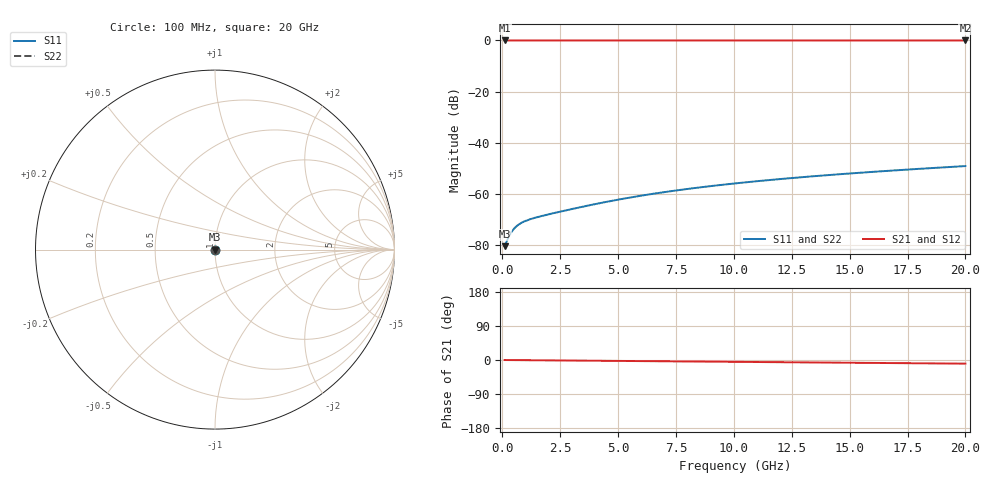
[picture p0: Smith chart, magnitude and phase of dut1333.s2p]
! Touchstone file exported from HFSS 2026.1.0
!  File:  C:/ffzhzh/LocalFiles/Ansys_Project_Files/temp_train_TSV_1333_1783195425_51560.aedt
!  Generated:  04:05:08 AM Jul  5, 2026
!  Design:  TSV
!  Project:  temp_train_TSV_1333_1783195425_51560
! Variables:
!  h_bsmrdl = 2um
!  h_ox = 20um
!  h_rdl = 5um
!  h_sub = 96.8um
!  h_tmrdl = 5um
!  h_tsv = 96.8um
!  h_via = 3um
!  l_bsmrdl = 300um
!  l_sub = 428.18um
!  l_tmrdl = 200um
!  m_sub = 200um
!  pitch = 55.31um
!  r_tsv = 14.09um
!  s_tmrdl = 10um
!  w_bsmrdl = 18um
!  w_sub = 500um
!  w_tmrdl = 12um
!  x_tsv_center1 = 206um
!  x_tsv_center2 = 524um
!  x_tsv_center3 = 736um
!  x_tsv_center4 = 1054um
!  x_tsv_center5 = 1266um
!  x_tsv_center6 = 1584um
# GHz S MA R 50.000000
! Terminal data exported
! Port[1] = TSV1_1_T1
! Port[2] = TSV1_1_T2
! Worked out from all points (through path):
!   200 points, 100 MHz to 20 GHz, reference 50 ohm
!   highest |S21| = 0.00 dB at 100 MHz (marker M1); lowest = 0.0 dB at 20 GHz (marker M2)
!   group delay of S21, straight-line fit = 1.34 ps
!   lowest |S11| = -80.6 dB at 100 MHz (marker M3), VSWR 1.00, Z = 50 + j0.00318 ohm
!   |S11| at or under -10 dB: start of sweep to end of sweep
!   |S22| runs from -80.6 to -49.2 dB; largest |S21 - S12| = 4.6e-15
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0.1  9.372e-05 19.9  0.9999 -0.1  0.9999 -0.1  9.372e-05 19.9
! Gamma 0 0 0 0
! Port Impedance 50 0 50 0
0.2  0.0001197 29.7  0.9999 -0.1  0.9999 -0.1  0.0001197 29.7
0.3  0.0001499 32.1  0.9999 -0.2  0.9999 -0.2  0.0001499 32.1
0.4  0.0001789 30.8  0.9998 -0.2  0.9998 -0.2  0.0001789 30.9
0.5  0.0002049 28.0  0.9998 -0.3  0.9998 -0.3  0.0002049 28.0
0.6  0.0002275 24.6  0.9998 -0.3  0.9998 -0.3  0.0002275 24.6
0.7  0.000247 21.1  0.9998 -0.3  0.9998 -0.3  0.000247 21.1
0.9  0.0002788 14.2  0.9997 -0.4  0.9997 -0.4  0.0002788 14.2
1.2  0.0003153 5.3  0.9997 -0.6  0.9997 -0.6  0.0003154 5.3
1.6  0.0003555 -4.3  0.9996 -0.8  0.9996 -0.8  0.0003556 -4.3
2.4  0.0004339 -18.2  0.9996 -1.2  0.9996 -1.2  0.0004341 -18.2
3.5  0.0005592 -31.1  0.9995 -1.7  0.9995 -1.7  0.0005593 -31.0
4.3  0.0006638 -37.8  0.9995 -2.1  0.9995 -2.1  0.000664 -37.8
5.1  0.0007775 -43.3  0.9994 -2.5  0.9994 -2.5  0.0007778 -43.3
5.9  0.0008983 -47.9  0.9994 -2.9  0.9994 -2.9  0.0008985 -47.8
6.8  0.00104 -52.2  0.9993 -3.3  0.9993 -3.3  0.001041 -52.1
8.4  0.001305 -58.3  0.9992 -4.1  0.9992 -4.1  0.001305 -58.3
10.1  0.001596 -63.4  0.9992 -4.9  0.9992 -4.9  0.001597 -63.4
11.7  0.001879 -67.3  0.9991 -5.6  0.9991 -5.6  0.001879 -67.3
13.4  0.002186 -70.7  0.999 -6.5  0.999 -6.5  0.002187 -70.6
16.7  0.002808 -75.9  0.9989 -8.0  0.9989 -8.0  0.002809 -75.8
20  0.003468 -79.9  0.9988 -9.6  0.9988 -9.6  0.00347 -79.8
